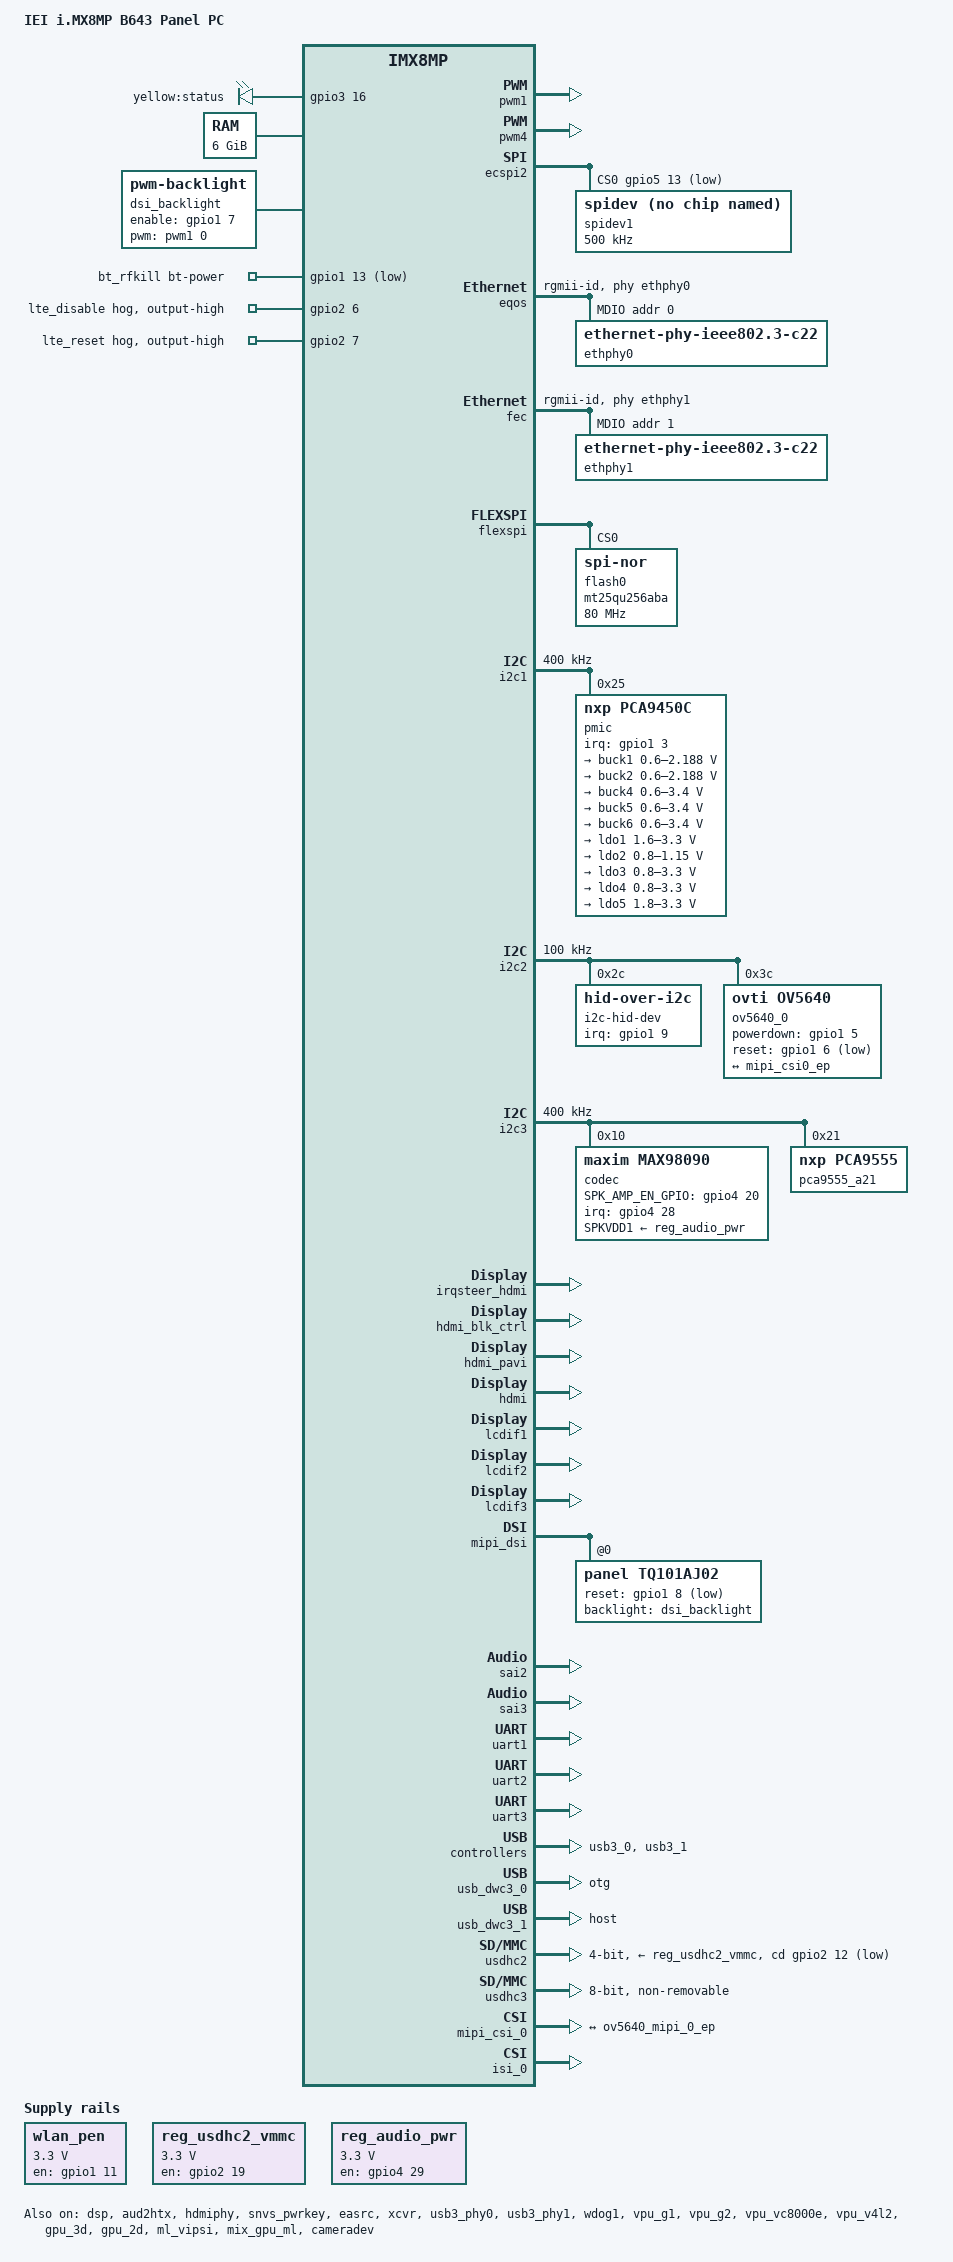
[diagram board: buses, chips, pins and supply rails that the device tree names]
// SPDX-License-Identifier: (GPL-2.0+ OR MIT)
/*
 * Copyright 2019 NXP
 */

/dts-v1/;

#include <dt-bindings/usb/pd.h>
#include "imx8mp.dtsi"

/ {
	model = "IEI i.MX8MP B643 Panel PC";
	compatible = "fsl,imx8mp-evk", "fsl,imx8mp";

	chosen {
		stdout-path = &uart2;
	};

	gpio-leds {
		compatible = "gpio-leds";
		pinctrl-names = "default";
		pinctrl-0 = <&pinctrl_gpio_led>;

		status {
			label = "yellow:status";
			gpios = <&gpio3 16 GPIO_ACTIVE_HIGH>;
			default-state = "on";
		};
	};

	memory@40000000 {
		device_type = "memory";
		reg = <0x0 0x40000000 0 0xc0000000>,
		      <0x1 0x00000000 0 0xc0000000>;
	};

        wlan_pen: wlan_pen {
                compatible = "regulator-fixed";
                pinctrl-names = "default";
                pinctrl-0 = <&pinctrl_wlan_pen>;
                regulator-name = "WLAN_PEN";
                regulator-min-microvolt = <3300000>;
                regulator-max-microvolt = <3300000>;
                gpio = <&gpio1 11 GPIO_ACTIVE_LOW>;
                off-on-delay = <20000>;
                startup-delay-us = <100>;
                enable-active-high;
        };

	reg_usdhc2_vmmc: regulator-usdhc2 {
		compatible = "regulator-fixed";
		pinctrl-names = "default";
		pinctrl-0 = <&pinctrl_reg_usdhc2_vmmc>;
		regulator-name = "VSD_3V3";
		regulator-min-microvolt = <3300000>;
		regulator-max-microvolt = <3300000>;
		gpio = <&gpio2 19 GPIO_ACTIVE_HIGH>;
		enable-active-high;
	};

	reg_audio_pwr: regulator-audio-pwr {
		compatible = "regulator-fixed";
		regulator-name = "audio-pwr";
		regulator-min-microvolt = <3300000>;
		regulator-max-microvolt = <3300000>;
		gpio = <&gpio4 29 GPIO_ACTIVE_HIGH>;
		enable-active-high;
		regulator-always-on;
	};

	sound-hdmi {
		compatible = "fsl,imx-audio-cdnhdmi";
		model = "audio-hdmi";
		audio-cpu = <&aud2htx>;
		hdmi-out;
		constraint-rate = <44100>,
				<88200>,
				<176400>,
				<32000>,
				<48000>,
				<96000>,
				<192000>;
		status = "okay";
	};

        sound-max98090 {
                compatible = "fsl,imx-audio-max98090";
                model = "max98090-audio";
                audio-cpu = <&sai3>;
                audio-codec = <&codec>;
                status = "okay";
        };

	sound-xcvr {
		compatible = "fsl,imx-audio-xcvr";
		model = "imx-audio-xcvr";
		cpu-dai = <&xcvr>;
	};

	dsi_backlight: dsi_backlight {
		compatible = "pwm-backlight";
		pwms = <&pwm1 0 66667>;
		enable-gpios = <&gpio1 7 GPIO_ACTIVE_HIGH>;
		status = "okay";

		brightness-levels = < 0  1  2  3  4  5  6  7
			  8   9  10  11  12  13  14  15
			 16  17  18  19  20  21  22  23
			 24  25  26  27  28  29  30  31
			 32  33  34  35  36  37  38  39
			 40  41  42  43  44  45  46  47
			 48  49  50  51  52  53  54  55
			 56  57  58  59  60  61  62  63
			 64  65  66  67  68  69  70  71
			 72  73  74  75  76  77  78  79
			 80  81  82  83  84  85  86  87
			 88  89  90  91  92  93  94  95
			 96  97  98  99 100 101 102 103
			104 105 106 107 108 109 110 111
			112 113 114 115 116 117 118 119
			120 121 122 123 124 125 126 127
			128 129 130 131 132 133 134 135
			136 137 138 139 140 141 142 143
			144 145 146 147 148 149 150 151
			152 153 154 155 156 157 158 159
			160 161 162 163 164 165 166 167
			168 169 170 171 172 173 174 175
			176 177 178 179 180 181 182 183
			184 185 186 187 188 189 190 191
			192 193 194 195 196 197 198 199
			200 201 202 203 204 205 206 207
			208 209 210 211 212 213 214 215
			216 217 218 219 220 221 222 223
			224 225 226 227 228 229 230 231
			232 233 234 235 236 237 238 239
			240 241 242 243 244 245 246 247
			248 249 250 251 252 253 254 255>;
		default-brightness-level = <200>;
	};

        bt_rfkill {
                compatible = "fsl,mxc_bt_rfkill";
                pinctrl-0 = <&pinctrl_uart1_btctrl>;
                bt-power-gpios = <&gpio1 13 GPIO_ACTIVE_LOW>;
                reset-delay-us = <100>;
                reset-post-delay-ms = <150>;
                status ="okay";
        };
};

&A53_0 {
	cpu-supply = <&buck2>;
};

&A53_1 {
	cpu-supply = <&buck2>;
};

&A53_2 {
	cpu-supply = <&buck2>;
};

&A53_3 {
	cpu-supply = <&buck2>;
};

&dsp {
	status = "okay";
};

&pwm1 {
	pinctrl-names = "default";
	pinctrl-0 = <&pinctrl_pwm1>;
	status = "okay";
};

&pwm4 {
	pinctrl-names = "default";
	pinctrl-0 = <&pinctrl_pwm4>;
	status = "okay";
};

&aud2htx {
	status = "okay";
};

&gpio2 {
	lte_disable {
		gpio-hog;
		gpios = <6 GPIO_ACTIVE_HIGH>;
		line-name = "lte_disable";
		output-high;
		pinctrl-names = "default";
		pinctrl-0 = <&pinctrl_lte_dis_en>;
	};

	lte_reset {
		gpio-hog;
		gpios = <7 GPIO_ACTIVE_HIGH>;
		line-name = "lte_reset";
		output-high;
		pinctrl-names = "default";
		pinctrl-0 = <&pinctrl_lte_rst_en>;
	};
};

&ecspi2 {
	#address-cells = <1>;
	#size-cells = <0>;
	fsl,spi-num-chipselects = <1>;
	pinctrl-names = "default";
	pinctrl-0 = <&pinctrl_ecspi2 &pinctrl_ecspi2_cs>;
	cs-gpios = <&gpio5 13 GPIO_ACTIVE_LOW>;
	status = "okay";

	spidev1: spi@0 {
		reg = <0>;
		compatible = "rohm,dh2228fv";
		spi-max-frequency = <500000>;
	};
};

&eqos {
	pinctrl-names = "default";
	pinctrl-0 = <&pinctrl_eqos>;
	phy-mode = "rgmii-id";
	phy-handle = <&ethphy0>;
	status = "okay";

	mdio {
		compatible = "snps,dwmac-mdio";
		#address-cells = <1>;
		#size-cells = <0>;

		ethphy0: ethernet-phy@0 {
			compatible = "ethernet-phy-ieee802.3-c22";
			reg = <0>;
			eee-broken-1000t;
			rtl821x,aldps-disable;
			rtl821x,clkout-disable;
		};
	};
};

&fec {
	pinctrl-names = "default";
	pinctrl-0 = <&pinctrl_fec>;
	phy-mode = "rgmii-id";
	phy-handle = <&ethphy1>;
	fsl,magic-packet;
	status = "okay";

	mdio {
		#address-cells = <1>;
		#size-cells = <0>;

		ethphy1: ethernet-phy@1 {
			compatible = "ethernet-phy-ieee802.3-c22";
			reg = <1>;
			eee-broken-1000t;
			rtl821x,clkout-disable;
		};
	};
};

&flexspi {
	pinctrl-names = "default";
	pinctrl-0 = <&pinctrl_flexspi0>;
	status = "okay";

	flash0: mt25qu256aba@0 {
		reg = <0>;
		#address-cells = <1>;
		#size-cells = <1>;
		compatible = "jedec,spi-nor";
		spi-max-frequency = <80000000>;
		spi-tx-bus-width = <1>;
		spi-rx-bus-width = <4>;
	};
};

&i2c1 {
	clock-frequency = <400000>;
	pinctrl-names = "default";
	pinctrl-0 = <&pinctrl_i2c1>;
	status = "okay";

	pmic: pca9450@25 {
		reg = <0x25>;
		compatible = "nxp,pca9450c";
		/* PMIC PCA9450 PMIC_nINT GPIO1_IO3 */
		pinctrl-0 = <&pinctrl_pmic>;
		interrupt-parent = <&gpio1>;
		interrupts = <3 GPIO_ACTIVE_LOW>;

		regulators {
			buck1: BUCK1 {
				regulator-name = "BUCK1";
				regulator-min-microvolt = <600000>;
				regulator-max-microvolt = <2187500>;
				regulator-boot-on;
				regulator-always-on;
				regulator-ramp-delay = <3125>;
			};

			buck2: BUCK2 {
				regulator-name = "BUCK2";
				regulator-min-microvolt = <600000>;
				regulator-max-microvolt = <2187500>;
				regulator-boot-on;
				regulator-always-on;
				regulator-ramp-delay = <3125>;
				nxp,dvs-run-voltage = <950000>;
				nxp,dvs-standby-voltage = <850000>;
			};

			buck4: BUCK4{
				regulator-name = "BUCK4";
				regulator-min-microvolt = <600000>;
				regulator-max-microvolt = <3400000>;
				regulator-boot-on;
				regulator-always-on;
			};

			buck5: BUCK5{
				regulator-name = "BUCK5";
				regulator-min-microvolt = <600000>;
				regulator-max-microvolt = <3400000>;
				regulator-boot-on;
				regulator-always-on;
			};

			buck6: BUCK6 {
				regulator-name = "BUCK6";
				regulator-min-microvolt = <600000>;
				regulator-max-microvolt = <3400000>;
				regulator-boot-on;
				regulator-always-on;
			};

			ldo1: LDO1 {
				regulator-name = "LDO1";
				regulator-min-microvolt = <1600000>;
				regulator-max-microvolt = <3300000>;
				regulator-boot-on;
				regulator-always-on;
			};

			ldo2: LDO2 {
				regulator-name = "LDO2";
				regulator-min-microvolt = <800000>;
				regulator-max-microvolt = <1150000>;
				regulator-boot-on;
				regulator-always-on;
			};

			ldo3: LDO3 {
				regulator-name = "LDO3";
				regulator-min-microvolt = <800000>;
				regulator-max-microvolt = <3300000>;
				regulator-boot-on;
				regulator-always-on;
			};

			ldo4: LDO4 {
				regulator-name = "LDO4";
				regulator-min-microvolt = <800000>;
				regulator-max-microvolt = <3300000>;
				regulator-boot-on;
				regulator-always-on;
			};

			ldo5: LDO5 {
				regulator-name = "LDO5";
				regulator-min-microvolt = <1800000>;
				regulator-max-microvolt = <3300000>;
				regulator-boot-on;
				regulator-always-on;
			};
		};
	};
};

&i2c2 {
	clock-frequency = <100000>;
	pinctrl-names = "default";
	pinctrl-0 = <&pinctrl_i2c2>;
	status = "okay";

	i2c-hid-dev@2c {
		compatible = "hid-over-i2c";
		reg = <0x2c>;
		hid-descr-addr = <0x0020>;
		pinctrl-names = "default";
		pinctrl-0 = <&pinctrl_touch_irq>;
		interrupt-parent = <&gpio1>;
		interrupts = <9 IRQ_TYPE_LEVEL_LOW>;
		status = "okay";
	};

	ov5640_0: ov5640_mipi@3c {
		compatible = "ovti,ov5640";
		reg = <0x3c>;
		pinctrl-names = "default";
		pinctrl-0 = <&pinctrl_csi0_pwn>, <&pinctrl_csi0_rst>, <&pinctrl_csi_mclk>;
		clocks = <&clk IMX8MP_CLK_IPP_DO_CLKO2>;
		clock-names = "xclk";
		assigned-clocks = <&clk IMX8MP_CLK_IPP_DO_CLKO2>;
		assigned-clock-parents = <&clk IMX8MP_CLK_24M>;
		assigned-clock-rates = <24000000>;
		csi_id = <0>;
		powerdown-gpios = <&gpio1 5 GPIO_ACTIVE_HIGH>;
		reset-gpios = <&gpio1 6 GPIO_ACTIVE_LOW>;
		mclk = <24000000>;
		mclk_source = <0>;
		mipi_csi;
		status = "okay";

		port {
			ov5640_mipi_0_ep: endpoint {
				remote-endpoint = <&mipi_csi0_ep>;
				data-lanes = <1 2>;
				clock-lanes = <0>;
			};
		};
	};
};

&i2c3 {
	clock-frequency = <400000>;
	pinctrl-names = "default";
	pinctrl-0 = <&pinctrl_i2c3>;
	status = "okay";

        codec: max98090@10 {
                status = "okay";
                compatible = "maxim,max98090";
                reg = <0x10>;
                clocks = <&audio_blk_ctrl IMX8MP_CLK_AUDIO_BLK_CTRL_SAI3_MCLK1>;
                clock-names = "mclk";
                wlf,shared-lrclk;
                wlf,hp-cfg = <3 2 3>;
                wlf,gpio-cfg = <1 3>;
                SPKVDD1-supply = <&reg_audio_pwr>;
                SPK_AMP_EN_GPIO = <&gpio4 20 0>;
//              hp-det-gpio = <&gpio4 28 0>;
                interrupt-parent = <&gpio4>;
                interrupts = <28 8>;	//1 = low-to-high edge triggered,  2 = high-to-low edge triggered
                                        //4 = active high level-sensitive, 8 = active low level-sensitive
        };

        pca9555_a21: pca9555@21 {
                compatible = "nxp,pca9555";
                //pinctrl-names = "default";
                //pinctrl-0 = <&pinctrl_pca9555_a21_irq>;
                reg = <0x21>;
                gpio-controller;
                #gpio-cells = <2>;
                //interrupt-controller;
                //#interrupt-cells = <2>;
                //interrupt-parent = <&gpio1>;
                //interrupts = <27 IRQ_TYPE_LEVEL_LOW>;
                status = "okay";
                gpio-line-names = "A_UR_SW0", "A_UR_SW1", "A_UR_SW2", "B_UR_SW0", "B_UR_SW1", "B_UR_SW2", "LCD_RST_H", "Reserved_LED",
                                  "EXT_GPIO1", "EXT_GPIO2", "EXT_GPIO3", "EXT_GPIO4", "EXT_GPIO5", "EXT_GPIO6", 
		                  "EXT_GPIO7", "EXT_GPIO8";

                a_ur_sw0 {
                        gpio-hog;
                        gpios = <0 GPIO_ACTIVE_HIGH>;
                        output-low;
                        line-name = "A_UR_SW0";
                };

                a_ur_sw1 {
                        gpio-hog;
                        gpios = <1 GPIO_ACTIVE_HIGH>;
                        output-low;
                        line-name = "A_UR_SW1";
                };

                a_ur_sw2 {
                        gpio-hog;
                        gpios = <2 GPIO_ACTIVE_HIGH>;
                        output-high;
                        line-name = "A_UR_SW2";
                };

                b_ur_sw0 {
                        gpio-hog;
                        gpios = <3 GPIO_ACTIVE_HIGH>;
                        output-low;
                        line-name = "B_UR_SW0";
                };

                b_ur_sw1 {
                        gpio-hog;
                        gpios = <4 GPIO_ACTIVE_HIGH>;
                        output-low;
                        line-name = "B_UR_SW1";
                };

                b_ur_sw2 {
                        gpio-hog;
                        gpios = <5 GPIO_ACTIVE_HIGH>;
                        output-high;
                        line-name = "B_UR_SW2";
                };
        };
};

&irqsteer_hdmi {
	status = "okay";
};

&hdmi_blk_ctrl {
	status = "okay";
};

&hdmi_pavi {
	status = "okay";
};

&hdmi {
	status = "okay";
};

&hdmiphy {
	status = "okay";
};

&lcdif1 {
	status = "okay";
};

&lcdif2 {
	status = "okay";
};

&lcdif3 {
	status = "okay";

	thres-low  = <1 2>;             /* (FIFO * 1 / 2) */
	thres-high = <3 4>;             /* (FIFO * 3 / 4) */
};

&mipi_dsi {
	status = "okay";

	panel@0 {
		compatible = "panel,tq101aj02";
		reg = <0>;
		backlight = <&dsi_backlight>;
		pinctrl-0 = <&pinctrl_mipi_dsi_en>;
		reset-gpio = <&gpio1 8 GPIO_ACTIVE_LOW>;
		dsi-lanes = <4>;
		video-mode = <2>;	/* 0: burst mode
					 * 1: non-burst mode with sync event
					 * 2: non-burst mode with sync pulse
					 */
		panel-width-mm = <135>;
		panel-height-mm = <216>;
		status = "okay";
	};
};

&snvs_pwrkey {
	status = "okay";
};

&easrc {
	fsl,asrc-rate  = <48000>;
	status = "okay";
};

&sai2 {
	#sound-dai-cells = <0>;
	pinctrl-names = "default";
	pinctrl-0 = <&pinctrl_sai2>;
	assigned-clocks = <&clk IMX8MP_CLK_SAI2>;
	assigned-clock-parents = <&clk IMX8MP_AUDIO_PLL1_OUT>;
	assigned-clock-rates = <12288000>;
	status = "okay";
};

&sai3 {
	pinctrl-names = "default";
	pinctrl-0 = <&pinctrl_sai3>;
	assigned-clocks = <&clk IMX8MP_CLK_SAI3>;
	assigned-clock-parents = <&clk IMX8MP_AUDIO_PLL1_OUT>;
	assigned-clock-rates = <12288000>;
	clocks = <&audio_blk_ctrl IMX8MP_CLK_AUDIO_BLK_CTRL_SAI3_IPG>, <&clk IMX8MP_CLK_DUMMY>,
		 <&audio_blk_ctrl IMX8MP_CLK_AUDIO_BLK_CTRL_SAI3_MCLK1>, <&clk IMX8MP_CLK_DUMMY>,
		 <&clk IMX8MP_CLK_DUMMY>;
	clock-names = "bus", "mclk0", "mclk1", "mclk2", "mclk3";
	fsl,sai-mclk-direction-output;
	status = "okay";
};

&xcvr {
	#sound-dai-cells = <0>;
	status = "okay";
};

&sdma2 {
	status = "okay";
};

&uart1 { /* BT */
	pinctrl-names = "default";
	pinctrl-0 = <&pinctrl_uart1>;
	assigned-clocks = <&clk IMX8MP_CLK_UART1>;
	assigned-clock-parents = <&clk IMX8MP_SYS_PLL1_80M>;
	fsl,uart-has-rtscts;
	status = "okay";
};

&uart2 {
	/* console */
	pinctrl-names = "default";
	pinctrl-0 = <&pinctrl_uart2>;
	status = "okay";
};

&uart3 {
	pinctrl-names = "default";
	pinctrl-0 = <&pinctrl_uart3>;
	assigned-clocks = <&clk IMX8MP_CLK_UART3>;
	assigned-clock-parents = <&clk IMX8MP_SYS_PLL1_80M>;
	fsl,uart-has-rtscts;
	status = "okay";
};

&usb3_phy0 {
	status = "okay";
};

&usb3_0 {
	status = "okay";
};

&usb_dwc3_0 {
	dr_mode = "otg";
	status = "okay";
};

&usb3_phy1 {
	fsl,phy-tx-preemp-amp-tune = <3>;
	fsl,phy-tx-vref-tune = <0xb>;
	status = "okay";
};

&usb3_1 {
	status = "okay";
};

&usb_dwc3_1 {
	pinctrl-names = "default";
	pinctrl-0 = <&pinctrl_usb1_vbus>;
	dr_mode = "host";
	status = "okay";
};

&usdhc2 {
	assigned-clocks = <&clk IMX8MP_CLK_USDHC2>;
	assigned-clock-rates = <400000000>;
	pinctrl-names = "default", "state_100mhz", "state_200mhz";
	pinctrl-0 = <&pinctrl_usdhc2>, <&pinctrl_usdhc2_gpio>;
	pinctrl-1 = <&pinctrl_usdhc2_100mhz>, <&pinctrl_usdhc2_gpio>;
	pinctrl-2 = <&pinctrl_usdhc2_200mhz>, <&pinctrl_usdhc2_gpio>;
	cd-gpios = <&gpio2 12 GPIO_ACTIVE_LOW>;
	vmmc-supply = <&reg_usdhc2_vmmc>;
	bus-width = <4>;
	status = "okay";
};

&usdhc3 {
	assigned-clocks = <&clk IMX8MP_CLK_USDHC3>;
	assigned-clock-rates = <400000000>;
	pinctrl-names = "default", "state_100mhz", "state_200mhz";
	pinctrl-0 = <&pinctrl_usdhc3>;
	pinctrl-1 = <&pinctrl_usdhc3_100mhz>;
	pinctrl-2 = <&pinctrl_usdhc3_200mhz>;
	bus-width = <8>;
	non-removable;
	status = "okay";
};

&wdog1 {
	pinctrl-names = "default";
	pinctrl-0 = <&pinctrl_wdog>;
	fsl,ext-reset-output;
	status = "okay";
};

&iomuxc {
	pinctrl-names = "default";
	pinctrl-0 = <&pinctrl_hog>;

	pinctrl_hog: hoggrp {
		fsl,pins = <
			MX8MP_IOMUXC_HDMI_DDC_SCL__HDMIMIX_HDMI_SCL	0x400001c3
			MX8MP_IOMUXC_HDMI_DDC_SDA__HDMIMIX_HDMI_SDA	0x400001c3
			MX8MP_IOMUXC_HDMI_HPD__HDMIMIX_HDMI_HPD		0x40000019
			MX8MP_IOMUXC_HDMI_CEC__HDMIMIX_HDMI_CEC		0x40000019
		>;
	};

	pinctrl_pwm1: pwm1grp {
		fsl,pins = <
			MX8MP_IOMUXC_GPIO1_IO01__PWM1_OUT	0x116
		>;
	};

	pinctrl_pwm4: pwm4grp {
		fsl,pins = <
			MX8MP_IOMUXC_SAI5_RXFS__PWM4_OUT	0x116
		>;
	};

	pinctrl_ecspi2: ecspi2grp {
		fsl,pins = <
			MX8MP_IOMUXC_ECSPI2_SCLK__ECSPI2_SCLK		0x82
			MX8MP_IOMUXC_ECSPI2_MOSI__ECSPI2_MOSI		0x82
			MX8MP_IOMUXC_ECSPI2_MISO__ECSPI2_MISO		0x82
		>;
	};

	pinctrl_ecspi2_cs: ecspi2cs {
		fsl,pins = <
			MX8MP_IOMUXC_ECSPI2_SS0__GPIO5_IO13		0x40000
		>;
	};

	pinctrl_eqos: eqosgrp {
		fsl,pins = <
			MX8MP_IOMUXC_ENET_MDC__ENET_QOS_MDC		0x3
			MX8MP_IOMUXC_ENET_MDIO__ENET_QOS_MDIO		0x3
			MX8MP_IOMUXC_ENET_RD0__ENET_QOS_RGMII_RD0	0x91
			MX8MP_IOMUXC_ENET_RD1__ENET_QOS_RGMII_RD1	0x91
			MX8MP_IOMUXC_ENET_RD2__ENET_QOS_RGMII_RD2	0x91
			MX8MP_IOMUXC_ENET_RD3__ENET_QOS_RGMII_RD3	0x91
			MX8MP_IOMUXC_ENET_RXC__CCM_ENET_QOS_CLOCK_GENERATE_RX_CLK	0x91
			MX8MP_IOMUXC_ENET_RX_CTL__ENET_QOS_RGMII_RX_CTL	0x91
			MX8MP_IOMUXC_ENET_TD0__ENET_QOS_RGMII_TD0	0x1f
			MX8MP_IOMUXC_ENET_TD1__ENET_QOS_RGMII_TD1	0x1f
			MX8MP_IOMUXC_ENET_TD2__ENET_QOS_RGMII_TD2	0x1f
			MX8MP_IOMUXC_ENET_TD3__ENET_QOS_RGMII_TD3	0x1f
			MX8MP_IOMUXC_ENET_TX_CTL__ENET_QOS_RGMII_TX_CTL	0x1f
			MX8MP_IOMUXC_ENET_TXC__CCM_ENET_QOS_CLOCK_GENERATE_TX_CLK	0x1f
			MX8MP_IOMUXC_SAI2_RXC__GPIO4_IO22		0x19
		>;
	};

	pinctrl_fec: fecgrp {
		fsl,pins = <
			MX8MP_IOMUXC_SAI1_RXD2__ENET1_MDC		0x3
			MX8MP_IOMUXC_SAI1_RXD3__ENET1_MDIO		0x3
			MX8MP_IOMUXC_SAI1_RXD4__ENET1_RGMII_RD0		0x91
			MX8MP_IOMUXC_SAI1_RXD5__ENET1_RGMII_RD1		0x91
			MX8MP_IOMUXC_SAI1_RXD6__ENET1_RGMII_RD2		0x91
			MX8MP_IOMUXC_SAI1_RXD7__ENET1_RGMII_RD3		0x91
			MX8MP_IOMUXC_SAI1_TXC__ENET1_RGMII_RXC		0x91
			MX8MP_IOMUXC_SAI1_TXFS__ENET1_RGMII_RX_CTL	0x91
			MX8MP_IOMUXC_SAI1_TXD0__ENET1_RGMII_TD0		0x1f
			MX8MP_IOMUXC_SAI1_TXD1__ENET1_RGMII_TD1		0x1f
			MX8MP_IOMUXC_SAI1_TXD2__ENET1_RGMII_TD2		0x1f
			MX8MP_IOMUXC_SAI1_TXD3__ENET1_RGMII_TD3		0x1f
			MX8MP_IOMUXC_SAI1_TXD4__ENET1_RGMII_TX_CTL	0x1f
			MX8MP_IOMUXC_SAI1_TXD5__ENET1_RGMII_TXC		0x1f
			MX8MP_IOMUXC_SAI1_RXD0__GPIO4_IO02		0x19
		>;
	};

	pinctrl_flexcan1: flexcan1grp {
		fsl,pins = <
			MX8MP_IOMUXC_SPDIF_RX__CAN1_RX          0x154
			MX8MP_IOMUXC_SPDIF_TX__CAN1_TX          0x154
		>;
	};

	pinctrl_flexcan2: flexcan2grp {
		fsl,pins = <
			MX8MP_IOMUXC_SAI5_MCLK__CAN2_RX		0x154
			MX8MP_IOMUXC_SAI5_RXD3__CAN2_TX		0x154
		>;
	};

	pinctrl_flexcan1_reg: flexcan1reggrp {
		fsl,pins = <
			MX8MP_IOMUXC_SPDIF_EXT_CLK__GPIO5_IO05	0x154	/* CAN1_STBY */
		>;
	};

	pinctrl_flexcan2_reg: flexcan2reggrp {
		fsl,pins = <
			MX8MP_IOMUXC_SAI2_MCLK__GPIO4_IO27	0x154	/* CAN2_STBY */
		>;
	};

	pinctrl_flexspi0: flexspi0grp {
		fsl,pins = <
			MX8MP_IOMUXC_NAND_ALE__FLEXSPI_A_SCLK           0x1c2
			MX8MP_IOMUXC_NAND_CE0_B__FLEXSPI_A_SS0_B        0x82
			MX8MP_IOMUXC_NAND_DATA00__FLEXSPI_A_DATA00      0x82
			MX8MP_IOMUXC_NAND_DATA01__FLEXSPI_A_DATA01      0x82
			MX8MP_IOMUXC_NAND_DATA02__FLEXSPI_A_DATA02      0x82
			MX8MP_IOMUXC_NAND_DATA03__FLEXSPI_A_DATA03      0x82
		>;
	};

	pinctrl_gpio_led: gpioledgrp {
		fsl,pins = <
			MX8MP_IOMUXC_NAND_READY_B__GPIO3_IO16	0x19
		>;
	};

	pinctrl_i2c1: i2c1grp {
		fsl,pins = <
			MX8MP_IOMUXC_I2C1_SCL__I2C1_SCL		0x400001c2
			MX8MP_IOMUXC_I2C1_SDA__I2C1_SDA		0x400001c2
		>;
	};

	pinctrl_i2c2: i2c2grp {
		fsl,pins = <
			MX8MP_IOMUXC_I2C2_SCL__I2C2_SCL		0x400001c2
			MX8MP_IOMUXC_I2C2_SDA__I2C2_SDA		0x400001c2
		>;
	};

	pinctrl_i2c3: i2c3grp {
		fsl,pins = <
			MX8MP_IOMUXC_I2C3_SCL__I2C3_SCL		0x400001c2
			MX8MP_IOMUXC_I2C3_SDA__I2C3_SDA		0x400001c2
		>;
	};

	pinctrl_mipi_dsi_en: mipi_dsi_en {
		fsl,pins = <
			MX8MP_IOMUXC_GPIO1_IO07__GPIO1_IO07	0x16
			MX8MP_IOMUXC_GPIO1_IO08__GPIO1_IO08	0x16
		>;
	};

	pinctrl_lte_dis_en: ltedisengrp {
		fsl,pins = <
			MX8MP_IOMUXC_SD1_DATA4__GPIO2_IO06		0x41 // disable pin
		>;
	};

	pinctrl_lte_rst_en: lterstengrp {
		fsl,pins = <
			MX8MP_IOMUXC_SD1_DATA5__GPIO2_IO07		0x41 // reset pin
		>;
	};

	pinctrl_pmic: pmicirq {
		fsl,pins = <
			MX8MP_IOMUXC_GPIO1_IO03__GPIO1_IO03	0x41
		>;
	};

	pinctrl_reg_usdhc2_vmmc: regusdhc2vmmcgrp {
		fsl,pins = <
			MX8MP_IOMUXC_SD2_RESET_B__GPIO2_IO19	0x41
		>;
	};

	pinctrl_sai2: sai2grp {
		fsl,pins = <
			MX8MP_IOMUXC_SAI2_TXC__AUDIOMIX_SAI2_TX_BCLK	0xd6
			MX8MP_IOMUXC_SAI2_TXFS__AUDIOMIX_SAI2_TX_SYNC	0xd6
			MX8MP_IOMUXC_SAI2_TXD0__AUDIOMIX_SAI2_TX_DATA00	0xd6
			MX8MP_IOMUXC_SAI2_RXD0__AUDIOMIX_SAI2_RX_DATA00	0xd6
		>;
	};

	pinctrl_sai3: sai3grp {
		fsl,pins = <
			MX8MP_IOMUXC_SAI3_TXFS__AUDIOMIX_SAI3_TX_SYNC	0xd6
			MX8MP_IOMUXC_SAI3_TXC__AUDIOMIX_SAI3_TX_BCLK	0xd6
			MX8MP_IOMUXC_SAI3_RXD__AUDIOMIX_SAI3_RX_DATA00	0xd6
			MX8MP_IOMUXC_SAI3_TXD__AUDIOMIX_SAI3_TX_DATA00	0xd6
			MX8MP_IOMUXC_SAI3_MCLK__AUDIOMIX_SAI3_MCLK	0xd6
			MX8MP_IOMUXC_SAI3_RXFS__GPIO4_IO28		0xd6
			MX8MP_IOMUXC_SAI3_RXC__GPIO4_IO29		0xd6
		>;
	};

	pinctrl_touch_irq: touch_irqgrp {
		fsl,pins = <
			MX8MP_IOMUXC_GPIO1_IO09__GPIO1_IO09		0x16
		>;
	};

        pinctrl_uart1_btctrl: uart1btctrlgrp {
                fsl,pins = <
                        MX8MP_IOMUXC_GPIO1_IO13__GPIO1_IO13     0x41 /* REG_ON */
                        MX8MP_IOMUXC_SD1_DATA6__GPIO2_IO08      0x41 /* HOST_WAKE*/
                        MX8MP_IOMUXC_GPIO1_IO15__GPIO1_IO15     0x41 /* WAKE */
                >;
        };

        pinctrl_gpio1: gpio1grp {
                fsl,pins = <
                        MX8MP_IOMUXC_GPIO1_IO13__GPIO1_IO13     0x41 /* REG_ON */
                >;
        };

	pinctrl_uart1: uart1grp {
		fsl,pins = <
			MX8MP_IOMUXC_UART1_RXD__UART1_DCE_RX	0x140
			MX8MP_IOMUXC_UART1_TXD__UART1_DCE_TX	0x140
			MX8MP_IOMUXC_UART3_RXD__UART1_DCE_CTS	0x140
			MX8MP_IOMUXC_UART3_TXD__UART1_DCE_RTS	0x140
		>;
	};

	pinctrl_typec: typec1grp {
		fsl,pins = <
			MX8MP_IOMUXC_SAI1_TXD7__GPIO4_IO19	0x1c4
		>;
	};

	pinctrl_typec_mux: typec1muxgrp {
		fsl,pins = <
			MX8MP_IOMUXC_SAI1_MCLK__GPIO4_IO20	0x16
		>;
	};

	pinctrl_uart2: uart2grp {
		fsl,pins = <
			MX8MP_IOMUXC_UART2_RXD__UART2_DCE_RX	0x49
			MX8MP_IOMUXC_UART2_TXD__UART2_DCE_TX	0x49
		>;
	};

	pinctrl_uart3: uart3grp {
		fsl,pins = <
			MX8MP_IOMUXC_ECSPI1_SCLK__UART3_DCE_RX		0x140
			MX8MP_IOMUXC_ECSPI1_MOSI__UART3_DCE_TX		0x140
			MX8MP_IOMUXC_ECSPI1_SS0__UART3_DCE_RTS		0x140
			MX8MP_IOMUXC_ECSPI1_MISO__UART3_DCE_CTS		0x140
		>;
	};

	pinctrl_usb1_vbus: usb1grp {
		fsl,pins = <
			MX8MP_IOMUXC_GPIO1_IO14__USB2_PWR		0x19
		>;
	};

	pinctrl_usdhc2: usdhc2grp {
		fsl,pins = <
			MX8MP_IOMUXC_SD2_CLK__USDHC2_CLK	0x190
			MX8MP_IOMUXC_SD2_CMD__USDHC2_CMD	0x1d0
			MX8MP_IOMUXC_SD2_DATA0__USDHC2_DATA0	0x1d0
			MX8MP_IOMUXC_SD2_DATA1__USDHC2_DATA1	0x1d0
			MX8MP_IOMUXC_SD2_DATA2__USDHC2_DATA2	0x1d0
			MX8MP_IOMUXC_SD2_DATA3__USDHC2_DATA3	0x1d0
			MX8MP_IOMUXC_GPIO1_IO04__USDHC2_VSELECT	0xc1
		>;
	};

	pinctrl_usdhc2_100mhz: usdhc2-100mhzgrp {
		fsl,pins = <
			MX8MP_IOMUXC_SD2_CLK__USDHC2_CLK	0x194
			MX8MP_IOMUXC_SD2_CMD__USDHC2_CMD	0x1d4
			MX8MP_IOMUXC_SD2_DATA0__USDHC2_DATA0	0x1d4
			MX8MP_IOMUXC_SD2_DATA1__USDHC2_DATA1	0x1d4
			MX8MP_IOMUXC_SD2_DATA2__USDHC2_DATA2	0x1d4
			MX8MP_IOMUXC_SD2_DATA3__USDHC2_DATA3	0x1d4
			MX8MP_IOMUXC_GPIO1_IO04__USDHC2_VSELECT 0xc1
		>;
	};

	pinctrl_usdhc2_200mhz: usdhc2-200mhzgrp {
		fsl,pins = <
			MX8MP_IOMUXC_SD2_CLK__USDHC2_CLK	0x196
			MX8MP_IOMUXC_SD2_CMD__USDHC2_CMD	0x1d6
			MX8MP_IOMUXC_SD2_DATA0__USDHC2_DATA0	0x1d6
			MX8MP_IOMUXC_SD2_DATA1__USDHC2_DATA1	0x1d6
			MX8MP_IOMUXC_SD2_DATA2__USDHC2_DATA2	0x1d6
			MX8MP_IOMUXC_SD2_DATA3__USDHC2_DATA3	0x1d6
			MX8MP_IOMUXC_GPIO1_IO04__USDHC2_VSELECT 0xc1
		>;
	};

	pinctrl_usdhc2_gpio: usdhc2gpiogrp {
		fsl,pins = <
			MX8MP_IOMUXC_SD2_CD_B__GPIO2_IO12	0x1c4
		>;
	};

	pinctrl_usdhc3: usdhc3grp {
		fsl,pins = <
			MX8MP_IOMUXC_NAND_WE_B__USDHC3_CLK	0x190
			MX8MP_IOMUXC_NAND_WP_B__USDHC3_CMD	0x1d0
			MX8MP_IOMUXC_NAND_DATA04__USDHC3_DATA0	0x1d0
			MX8MP_IOMUXC_NAND_DATA05__USDHC3_DATA1	0x1d0
			MX8MP_IOMUXC_NAND_DATA06__USDHC3_DATA2	0x1d0
			MX8MP_IOMUXC_NAND_DATA07__USDHC3_DATA3	0x1d0
			MX8MP_IOMUXC_NAND_RE_B__USDHC3_DATA4	0x1d0
			MX8MP_IOMUXC_NAND_CE2_B__USDHC3_DATA5	0x1d0
			MX8MP_IOMUXC_NAND_CE3_B__USDHC3_DATA6	0x1d0
			MX8MP_IOMUXC_NAND_CLE__USDHC3_DATA7	0x1d0
			MX8MP_IOMUXC_NAND_CE1_B__USDHC3_STROBE	0x190
		>;
	};

	pinctrl_usdhc3_100mhz: usdhc3-100mhzgrp {
		fsl,pins = <
			MX8MP_IOMUXC_NAND_WE_B__USDHC3_CLK	0x194
			MX8MP_IOMUXC_NAND_WP_B__USDHC3_CMD	0x1d4
			MX8MP_IOMUXC_NAND_DATA04__USDHC3_DATA0	0x1d4
			MX8MP_IOMUXC_NAND_DATA05__USDHC3_DATA1	0x1d4
			MX8MP_IOMUXC_NAND_DATA06__USDHC3_DATA2	0x1d4
			MX8MP_IOMUXC_NAND_DATA07__USDHC3_DATA3	0x1d4
			MX8MP_IOMUXC_NAND_RE_B__USDHC3_DATA4	0x1d4
			MX8MP_IOMUXC_NAND_CE2_B__USDHC3_DATA5	0x1d4
			MX8MP_IOMUXC_NAND_CE3_B__USDHC3_DATA6	0x1d4
			MX8MP_IOMUXC_NAND_CLE__USDHC3_DATA7	0x1d4
			MX8MP_IOMUXC_NAND_CE1_B__USDHC3_STROBE	0x194
		>;
	};

	pinctrl_usdhc3_200mhz: usdhc3-200mhzgrp {
		fsl,pins = <
			MX8MP_IOMUXC_NAND_WE_B__USDHC3_CLK	0x196
			MX8MP_IOMUXC_NAND_WP_B__USDHC3_CMD	0x1d6
			MX8MP_IOMUXC_NAND_DATA04__USDHC3_DATA0	0x1d6
			MX8MP_IOMUXC_NAND_DATA05__USDHC3_DATA1	0x1d6
			MX8MP_IOMUXC_NAND_DATA06__USDHC3_DATA2	0x1d6
			MX8MP_IOMUXC_NAND_DATA07__USDHC3_DATA3	0x1d6
			MX8MP_IOMUXC_NAND_RE_B__USDHC3_DATA4	0x1d6
			MX8MP_IOMUXC_NAND_CE2_B__USDHC3_DATA5	0x1d6
			MX8MP_IOMUXC_NAND_CE3_B__USDHC3_DATA6	0x1d6
			MX8MP_IOMUXC_NAND_CLE__USDHC3_DATA7	0x1d6
			MX8MP_IOMUXC_NAND_CE1_B__USDHC3_STROBE	0x196
		>;
	};

	pinctrl_wdog: wdoggrp {
		fsl,pins = <
			MX8MP_IOMUXC_GPIO1_IO02__WDOG1_WDOG_B	0xc6
		>;
	};

        pinctrl_wlan_pen: wlan_pen_ctrlgrp {
                fsl,pins = <
                        MX8MP_IOMUXC_GPIO1_IO11__GPIO1_IO11    0x41 /* WLAN_PEN */
                >;
        };

	pinctrl_csi0_pwn: csi0_pwn_grp {
		fsl,pins = <
			MX8MP_IOMUXC_GPIO1_IO05__GPIO1_IO05	0x19
		>;
	};

	pinctrl_csi0_rst: csi0_rst_grp {
		fsl,pins = <
			MX8MP_IOMUXC_GPIO1_IO06__GPIO1_IO06	0x19
		>;
	};

	pinctrl_csi_mclk: csi_mclk_grp {
		fsl,pins = <
			MX8MP_IOMUXC_GPIO1_IO15__CCM_CLKO2	0x59
		>;
	};

	/*
        pinctrl_pca9555_a21_irq: pca9555_a21_irqgrp {
                fsl,pins = <
                        MX8MP_IOMUXC_GPIO1_IO12__GPIO1_IO12     0x140
                >;
        };
	*/
};

&vpu_g1 {
	status = "okay";
};

&vpu_g2 {
	status = "okay";
};

&vpu_vc8000e {
	status = "okay";
};

&vpu_v4l2 {
	status = "okay";
};

&gpu_3d {
	status = "okay";
};

&gpu_2d {
	status = "okay";
};

&ml_vipsi {
	status = "okay";
};

&mix_gpu_ml {
	status = "okay";
};

&mipi_csi_0 {
	#address-cells = <1>;
	#size-cells = <0>;
	status = "okay";

	port@0 {
		reg = <0>;
		mipi_csi0_ep: endpoint {
			remote-endpoint = <&ov5640_mipi_0_ep>;
			data-lanes = <2>;
			csis-hs-settle = <13>;
			csis-clk-settle = <2>;
			csis-wclk;
		};
	};
};

&cameradev {
	status = "okay";
};

&isi_0 {
	status = "okay";

	cap_device {
		status = "okay";
	};

	m2m_device {
		status = "okay";
	};
};

&isi_1 {
	status = "disabled";

	cap_device {
		status = "okay";
	};
};
